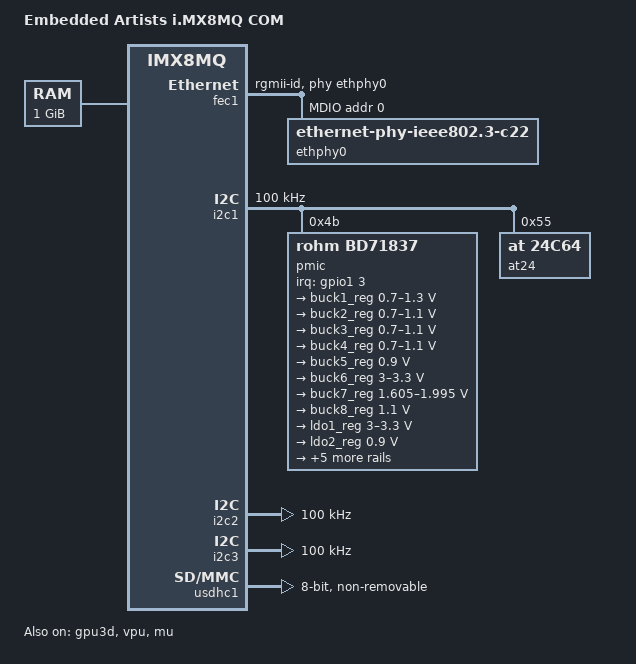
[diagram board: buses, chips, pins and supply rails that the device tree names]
/*
 * Copyright (C) 2016 Freescale Semiconductor, Inc.
 * Copyright 2017 NXP
 *
 * This program is free software; you can redistribute it and/or
 * modify it under the terms of the GNU General Public License
 * as published by the Free Software Foundation; either version 2
 * of the License, or (at your option) any later version.
 *
 * This program is distributed in the hope that it will be useful,
 * but WITHOUT ANY WARRANTY; without even the implied warranty of
 * MERCHANTABILITY or FITNESS FOR A PARTICULAR PURPOSE.  See the
 * GNU General Public License for more details.
 */

/dts-v1/;

#include "imx8mq.dtsi"

/ {
	model = "Embedded Artists i.MX8MQ COM ";
	compatible = "fsl,imx8mqea-com", "fsl,imx8mq";

	memory@40000000 {
		device_type = "memory";
		reg = <0x00000000 0x40000000 0 0x40000000>;
	};

	resmem: reserved-memory {
		#address-cells = <2>;
		#size-cells = <2>;
		ranges;

		/* global autoconfigured region for contiguous allocations */
		linux,cma {
			compatible = "shared-dma-pool";
			reusable;
			size = <0 0x1e000000>;
			alloc-ranges = <0 0x40000000 0 0x40000000>;
			linux,cma-default;
		};
	};


};

&iomuxc {
	pinctrl-names = "default";

	imx8mqea-com {

		pinctrl_fec1: fec1grp {
			fsl,pins = <
				MX8MQ_IOMUXC_ENET_MDC_ENET1_MDC		0x3
				MX8MQ_IOMUXC_ENET_MDIO_ENET1_MDIO	0x23
				MX8MQ_IOMUXC_ENET_TD3_ENET1_RGMII_TD3	0x1f
				MX8MQ_IOMUXC_ENET_TD2_ENET1_RGMII_TD2	0x1f
				MX8MQ_IOMUXC_ENET_TD1_ENET1_RGMII_TD1	0x1f
				MX8MQ_IOMUXC_ENET_TD0_ENET1_RGMII_TD0	0x1f
				MX8MQ_IOMUXC_ENET_RD3_ENET1_RGMII_RD3	0x91
				MX8MQ_IOMUXC_ENET_RD2_ENET1_RGMII_RD2	0x91
				MX8MQ_IOMUXC_ENET_RD1_ENET1_RGMII_RD1	0x91
				MX8MQ_IOMUXC_ENET_RD0_ENET1_RGMII_RD0	0x91
				MX8MQ_IOMUXC_ENET_TXC_ENET1_RGMII_TXC	0x1f
				MX8MQ_IOMUXC_ENET_RXC_ENET1_RGMII_RXC	0x91
				MX8MQ_IOMUXC_ENET_RX_CTL_ENET1_RGMII_RX_CTL	0x91
				MX8MQ_IOMUXC_ENET_TX_CTL_ENET1_RGMII_TX_CTL	0x1f
				MX8MQ_IOMUXC_GPIO1_IO09_GPIO1_IO9	0x19
			>;
		};

		pinctrl_i2c1: i2c1grp {
			fsl,pins = <
				MX8MQ_IOMUXC_I2C1_SCL_I2C1_SCL			0x4000007f
				MX8MQ_IOMUXC_I2C1_SDA_I2C1_SDA			0x4000007f
			>;
		};

		pinctrl_i2c2: i2c2grp {
			fsl,pins = <
				MX8MQ_IOMUXC_I2C2_SCL_I2C2_SCL			0x40000067
				MX8MQ_IOMUXC_I2C2_SDA_I2C2_SDA			0x40000067
			>;
		};

		pinctrl_i2c3: i2c3grp {
			fsl,pins = <
				MX8MQ_IOMUXC_I2C3_SCL_I2C3_SCL			0x40000067
				MX8MQ_IOMUXC_I2C3_SDA_I2C3_SDA			0x40000067
			>;
		};

		pinctrl_usdhc1: usdhc1grp {
			fsl,pins = <
				MX8MQ_IOMUXC_SD1_CLK_USDHC1_CLK			0x83
				MX8MQ_IOMUXC_SD1_CMD_USDHC1_CMD			0xc3
				MX8MQ_IOMUXC_SD1_DATA0_USDHC1_DATA0		0xc3
				MX8MQ_IOMUXC_SD1_DATA1_USDHC1_DATA1		0xc3
				MX8MQ_IOMUXC_SD1_DATA2_USDHC1_DATA2		0xc3
				MX8MQ_IOMUXC_SD1_DATA3_USDHC1_DATA3		0xc3
				MX8MQ_IOMUXC_SD1_DATA4_USDHC1_DATA4		0xc3
				MX8MQ_IOMUXC_SD1_DATA5_USDHC1_DATA5		0xc3
				MX8MQ_IOMUXC_SD1_DATA6_USDHC1_DATA6		0xc3
				MX8MQ_IOMUXC_SD1_DATA7_USDHC1_DATA7		0xc3
				MX8MQ_IOMUXC_SD1_STROBE_USDHC1_STROBE		0x83
				MX8MQ_IOMUXC_SD1_RESET_B_USDHC1_RESET_B		0xc1
			>;
		};

		pinctrl_usdhc1_100mhz: usdhc1grp100mhz {
			fsl,pins = <
				MX8MQ_IOMUXC_SD1_CLK_USDHC1_CLK			0x8d
				MX8MQ_IOMUXC_SD1_CMD_USDHC1_CMD			0xcd
				MX8MQ_IOMUXC_SD1_DATA0_USDHC1_DATA0		0xcd
				MX8MQ_IOMUXC_SD1_DATA1_USDHC1_DATA1		0xcd
				MX8MQ_IOMUXC_SD1_DATA2_USDHC1_DATA2		0xcd
				MX8MQ_IOMUXC_SD1_DATA3_USDHC1_DATA3		0xcd
				MX8MQ_IOMUXC_SD1_DATA4_USDHC1_DATA4		0xcd
				MX8MQ_IOMUXC_SD1_DATA5_USDHC1_DATA5		0xcd
				MX8MQ_IOMUXC_SD1_DATA6_USDHC1_DATA6		0xcd
				MX8MQ_IOMUXC_SD1_DATA7_USDHC1_DATA7		0xcd
				MX8MQ_IOMUXC_SD1_STROBE_USDHC1_STROBE		0x8d
				MX8MQ_IOMUXC_SD1_RESET_B_USDHC1_RESET_B		0xc1
			>;
		};

		pinctrl_usdhc1_200mhz: usdhc1grp200mhz {
			fsl,pins = <
				MX8MQ_IOMUXC_SD1_CLK_USDHC1_CLK			0x9f
				MX8MQ_IOMUXC_SD1_CMD_USDHC1_CMD			0xdf
				MX8MQ_IOMUXC_SD1_DATA0_USDHC1_DATA0		0xdf
				MX8MQ_IOMUXC_SD1_DATA1_USDHC1_DATA1		0xdf
				MX8MQ_IOMUXC_SD1_DATA2_USDHC1_DATA2		0xdf
				MX8MQ_IOMUXC_SD1_DATA3_USDHC1_DATA3		0xdf
				MX8MQ_IOMUXC_SD1_DATA4_USDHC1_DATA4		0xdf
				MX8MQ_IOMUXC_SD1_DATA5_USDHC1_DATA5		0xdf
				MX8MQ_IOMUXC_SD1_DATA6_USDHC1_DATA6		0xdf
				MX8MQ_IOMUXC_SD1_DATA7_USDHC1_DATA7		0xdf
				MX8MQ_IOMUXC_SD1_STROBE_USDHC1_STROBE		0x9f
				MX8MQ_IOMUXC_SD1_RESET_B_USDHC1_RESET_B		0xc1
			>;
		};

		pinctrl_pmic: pmicirq {
			fsl,pins = <
				MX8MQ_IOMUXC_GPIO1_IO03_GPIO1_IO3		0x41
			>;
		};

	};
};

&fec1 {
	pinctrl-names = "default";
	pinctrl-0 = <&pinctrl_fec1>;
	phy-mode = "rgmii-id";
	phy-handle = <&ethphy0>;
	fsl,magic-packet;
	status = "okay";

	mdio {
		#address-cells = <1>;
		#size-cells = <0>;

		ethphy0: ethernet-phy@0 {
			compatible = "ethernet-phy-ieee802.3-c22";
			reg = <0>;
			at803x,led-act-blind-workaround;
			at803x,eee-disabled;
		};
	};
};

&i2c1 {
	clock-frequency = <100000>;
	pinctrl-names = "default";
	pinctrl-0 = <&pinctrl_i2c1>;
	status = "okay";

	pmic: bd71837@4b {
		compatible = "rohm,bd71837";
		reg = <0x4b>;
		/* PMIC BD71837 PMIC_nINT GPIO1_IO3 */
		pinctrl-0 = <&pinctrl_pmic>;
		interrupt-parent = <&gpio1>;
		interrupts = <3 GPIO_ACTIVE_LOW>;
		rohm,reset-snvs-powered;

		regulators {

			buck1_reg: BUCK1 { /* VDD_SOC_0V9 */
				regulator-name = "BUCK1";
				regulator-min-microvolt = <700000>;
				regulator-max-microvolt = <1300000>;
				regulator-boot-on;
				regulator-always-on;
				regulator-ramp-delay = <1250>;
			};

			buck2_reg: BUCK2 { /* VDD_ARM_0V9 */
				regulator-name = "BUCK2";
				regulator-min-microvolt = <700000>;
				regulator-max-microvolt = <1100000>;
				regulator-boot-on;
				regulator-always-on;
				regulator-ramp-delay = <1250>;
				rohm,dvs-run-voltage = <1000000>;
				rohm,dvs-idle-voltage = <900000>;
			};

			buck3_reg: BUCK3 { /* VDD_GPU_0V9 */
				regulator-name = "BUCK3";
				regulator-min-microvolt = <700000>;
				regulator-max-microvolt = <1100000>;
				regulator-boot-on;
				regulator-always-on;
			};

			buck4_reg: BUCK4 { /* VDD_VPU_0V9 */
				regulator-name = "BUCK4";
				regulator-min-microvolt = <700000>;
				regulator-max-microvolt = <1100000>;
				regulator-boot-on;
				regulator-always-on;
			};

			buck5_reg: BUCK5 { /* VDD_DRAM_0V9 */
				regulator-name = "BUCK5";
				regulator-min-microvolt = <900000>;
				regulator-max-microvolt = <900000>;
				regulator-boot-on;
				regulator-always-on;
			};

			buck6_reg: BUCK6 { /* NVCC_3V3 */
				regulator-name = "BUCK6";
				regulator-min-microvolt = <3000000>;
				regulator-max-microvolt = <3300000>;
				regulator-boot-on;
				regulator-always-on;
			};

			buck7_reg: BUCK7 { /* NVCC_1V8 */
				regulator-name = "BUCK7";
				regulator-min-microvolt = <1605000>;
				regulator-max-microvolt = <1995000>;
				regulator-boot-on;
				regulator-always-on;
			};

			buck8_reg: BUCK8 { /* NVCC_DRAM_1V1 */
				regulator-name = "BUCK8";
				regulator-min-microvolt = <1100000>;
				regulator-max-microvolt = <1100000>;
				regulator-boot-on;
				regulator-always-on;
			};

			ldo1_reg: LDO1 { /* NVCC_SNVS_3V3 */
				regulator-name = "LDO1";
				regulator-min-microvolt = <3000000>;
				regulator-max-microvolt = <3300000>;
				regulator-boot-on;
				regulator-always-on;
			};

			ldo2_reg: LDO2 { /* NVCC_SNVS_0V9 */
				regulator-name = "LDO2";
				regulator-min-microvolt = <900000>;
				regulator-max-microvolt = <900000>;
				regulator-boot-on;
				regulator-always-on;
			};

			ldo3_reg: LDO3 { /* VDDA_1V8 */
				regulator-name = "LDO3";
				regulator-min-microvolt = <1800000>;
				regulator-max-microvolt = <3300000>;
				regulator-boot-on;
				regulator-always-on;
			};

			ldo4_reg: LDO4 { /* VDDA_0P9 */
				regulator-name = "LDO4";
				regulator-min-microvolt = <900000>;
				regulator-max-microvolt = <1800000>;
				regulator-boot-on;
				regulator-always-on;
			};

			ldo5_reg: LDO5 { /* VDD_PHY_1V8 */
				regulator-name = "LDO5";
				regulator-min-microvolt = <1800000>;
				regulator-max-microvolt = <1800000>;
				regulator-boot-on;
				regulator-always-on;
			};


			ldo6_reg: LDO6 { /* VDD_PHY_0V9 */
				regulator-name = "LDO6";
				regulator-min-microvolt = <900000>;
				regulator-max-microvolt = <900000>;
				regulator-boot-on;
				regulator-always-on;
			};

			ldo7_reg: LDO7 { /* VDD_PHY_3V3 */
				regulator-name = "LDO7";
				regulator-min-microvolt = <3300000>;
				regulator-max-microvolt = <3300000>;
				regulator-boot-on;
				regulator-always-on;
			};
		};
	};


	at24@55 {
		compatible = "at,24c64";
		pagesize = <32>;
		reg = <0x55>;
	};

};

&i2c2 {
	clock-frequency = <100000>;
	pinctrl-names = "default";
	pinctrl-0 = <&pinctrl_i2c2>;
	status = "okay";
};
 
&i2c3 {
	clock-frequency = <100000>;
	pinctrl-names = "default";
	pinctrl-0 = <&pinctrl_i2c3>;
	status = "okay";
};


&usdhc1 {
	pinctrl-names = "default", "state_100mhz", "state_200mhz";
	pinctrl-0 = <&pinctrl_usdhc1>;
	pinctrl-1 = <&pinctrl_usdhc1_100mhz>;
	pinctrl-2 = <&pinctrl_usdhc1_200mhz>;
	bus-width = <8>;
	non-removable;
	status = "okay";
};

&pgc_gpu {
	power-supply = <&buck3_reg>;
};

&pgc_vpu {
	power-supply = <&buck4_reg>;
};

&gpu3d {
	status = "okay";
};

&vpu {
	regulator-supply = <&buck4_reg>;
	status = "okay";
};

&mu {
	status = "okay";
};

&A53_0 {
	cpu-supply = <&buck2_reg>;
};

&A53_1 {
	cpu-supply = <&buck2_reg>;
};

&A53_2 {
	cpu-supply = <&buck2_reg>;
};

&A53_3 {
	cpu-supply = <&buck2_reg>;
};
